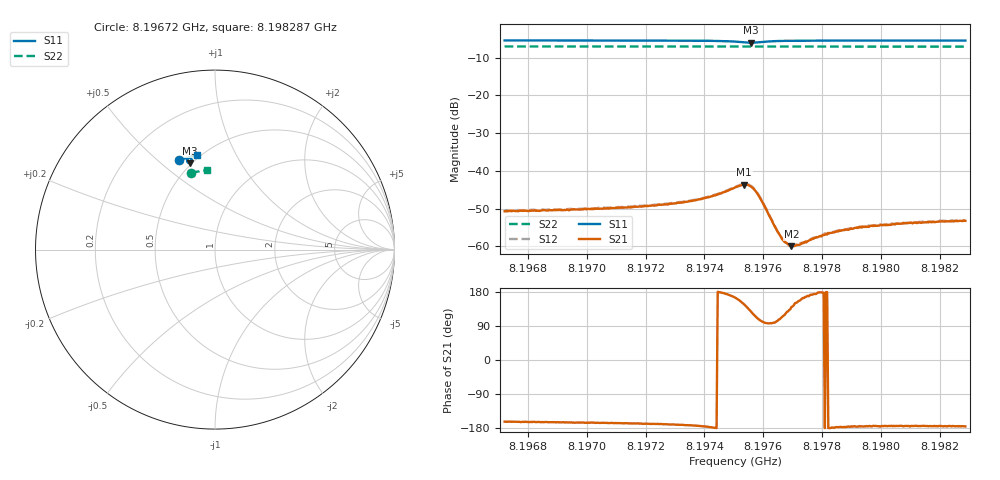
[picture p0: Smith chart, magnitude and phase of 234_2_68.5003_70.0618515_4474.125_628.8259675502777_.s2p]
#  HZ  S  RI  R  50.00
! Rohde & Schwarz Vector Network Analyzer
! Rohde-Schwarz,ZNB20-2Port,1311601062101988,3.16
! Created: UTC 3/20/2024, 5:14:10 PM
! freq[Hz]  re:S11  im:S11  re:S21  im:S21  re:S12  im:S12  re:S22  im:S22
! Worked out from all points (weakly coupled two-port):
!   401 points, 8.19672 GHz to 8.198287 GHz, reference 50 ohm
!   highest |S21| = -43.63 dB at 8.197535 GHz (marker M1); lowest = -60.0 dB at 8.197696 GHz (marker M2)
!   lowest |S11| = -6.0 dB at 8.197559 GHz (marker M3), VSWR 3.01, Z = 24.5 + j31.6 ohm
!   |S11| at or under -10 dB: nowhere
!   |S22| runs from -7.1 to -7.0 dB; largest |S21 - S12| = 0.0003
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8.1967205e9  -0.2004 0.4973  -0.00277 -0.000864  -0.00288 -0.000774  -0.1335 0.4263
8.1969829e9  -0.182 0.5039  -0.00299 -0.000791  -0.00306 -0.0007  -0.1193 0.43
8.1972453e9  -0.1616 0.5098  -0.00347 -0.000667  -0.00357 -0.000544  -0.1048 0.4334
8.1973902e9  -0.1472 0.5115  -0.0042 -0.000418  -0.00431 -0.000244  -0.0967 0.4347
8.1974489e9  -0.1387 0.5099  -0.00491 6.51e-05  -0.00501 0.000266  -0.0934 0.4353
8.1975038e9  -0.1292 0.5018  -0.0058 0.00159  -0.00582 0.00184  -0.0902 0.4358
8.1975351e9  -0.1286 0.4897  -0.00549 0.00363  -0.00544 0.00386  -0.0884 0.4357
8.1975586e9  -0.1376 0.4818  -0.00373 0.00491  -0.00364 0.00515  -0.0875 0.4357
8.1975743e9  -0.1461 0.4819  -0.00222 0.00488  -0.00206 0.00509  -0.0869 0.436
8.1975899e9  -0.1523 0.4863  -0.00105 0.00415  -0.000896 0.00433  -0.0861 0.4362
8.1976565e9  -0.1525 0.5053  -0.000431 0.00133  -0.000375 0.00133  -0.0824 0.4373
8.1976683e9  -0.1511 0.5072  -0.000537 0.00106  -0.000469 0.00113  -0.0818 0.4375
8.19768e9  -0.1497 0.5086  -0.000657 0.000881  -0.000596 0.000907  -0.0813 0.4376
8.1976957e9  -0.1478 0.5102  -0.000766 0.000645  -0.000752 0.000702  -0.0802 0.4378
8.1977113e9  -0.146 0.5117  -0.000898 0.000498  -0.000894 0.000563  -0.0794 0.4379
8.1977662e9  -0.1402 0.5149  -0.00124 0.000168  -0.00125 0.00023  -0.0761 0.4385
8.1978132e9  -0.1359 0.5167  -0.00144 1.99e-05  -0.00147 6.65e-05  -0.0736 0.4387
8.197868e9  -0.131 0.5184  -0.00163 -7.87e-05  -0.00165 -3.93e-05  -0.0702 0.4392
8.1979346e9  -0.1255 0.52  -0.00176 -0.000155  -0.00183 -4.3e-05  -0.0668 0.4396
8.1980286e9  -0.1182 0.5218  -0.00192 -0.000205  -0.00199 -0.000114  -0.0614 0.4403
8.1980952e9  -0.1131 0.523  -0.00202 -0.000212  -0.00204 -0.000109  -0.0575 0.4407
8.1982871e9  -0.0988 0.5256  -0.00216 -0.00018  -0.00222 -7.64e-05  -0.0466 0.4416
